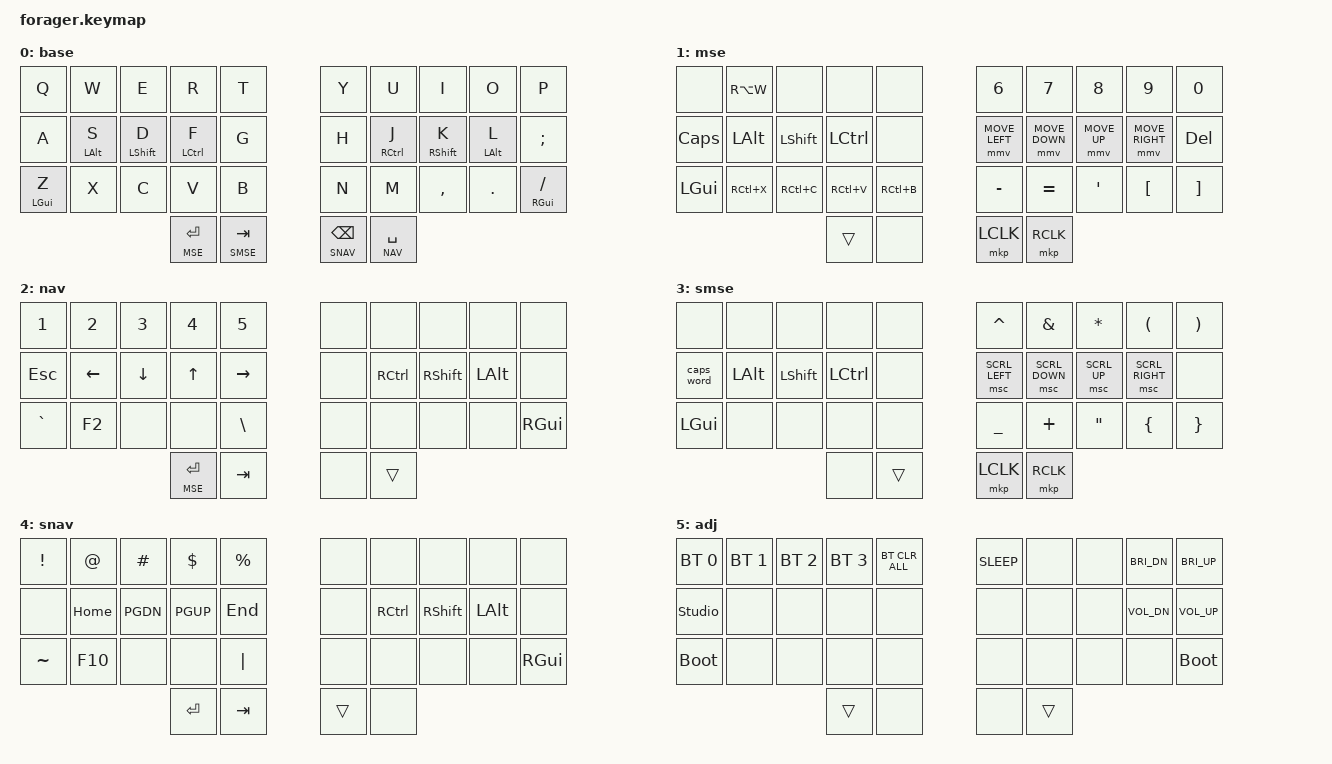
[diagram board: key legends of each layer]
#include <behaviors.dtsi>
#include <dt-bindings/zmk/keys.h>
#include <dt-bindings/zmk/bt.h>
#include <dt-bindings/zmk/outputs.h>
#include <dt-bindings/zmk/mouse.h>

#define BASE 0
#define MSE  1
#define NAV  2
#define SMSE 3
#define SNAV 4
#define ADJ  5

#define AS(keycode) &as LS(keycode) keycode     // Autoshift Macro
#define MEH LS(LC(LALT))

/ {
    behaviors {
        as: auto_shift {
            compatible = "zmk,behavior-hold-tap";
            #binding-cells = <2>;
            tapping-term-ms = <250>;
            require-prior-idle-ms = <100>;
            flavor = "tap-preferred";
            bindings = <&kp>, <&kp>;
        };
        ht: hold_tap {
            compatible = "zmk,behavior-hold-tap";
            #binding-cells = <2>;
            tapping-term-ms = <200>;
            flavor = "balanced";
            bindings = <&kp>, <&kp>;
        };
        sabk: shift_to_alt_backspace {
            compatible = "zmk,behavior-mod-morph";
            #binding-cells = <0>;
            bindings = <&kp BSPC>, <&kp LA(BSPC)>;
            mods = <(MOD_LSFT|MOD_RSFT)>;
        };
        smart_shift: smart_shift {
            compatible = "zmk,behavior-mod-morph";
            #binding-cells = <0>;
            bindings = <&sk LSHFT>, <&caps_word>;
            mods = <(MOD_LSFT|MOD_RSFT)>;
        };
        sym_bspc: left_thumb_hold_tap {
            compatible = "zmk,behavior-hold-tap";
            #binding-cells = <2>;
            flavor = "tap-preferred";
            tapping-term-ms = <150>;
            quick-tap-ms = <200>;
            bindings = <&mo>, <&sabk>;
        };
        lhm_p: left_homerow_pinky_finger {
            compatible = "zmk,behavior-hold-tap";
            #binding-cells = <2>;
            flavor = "tap-preferred";
            tapping-term-ms = <200>;
            quick-tap-ms = <200>;
            require-prior-idle-ms = <200>;
            hold-trigger-on-release;
            bindings = <&kp>, <&kp>;
            hold-trigger-key-positions = <5 6 7 8 9 15 16 17 18 19 25 26 27 28 29 30 31 32 33>;
        };
        lhm_r: left_homerow_ring_finger {
            compatible = "zmk,behavior-hold-tap";
            #binding-cells = <2>;
            flavor = "tap-preferred";
            tapping-term-ms = <175>;
            quick-tap-ms = <175>;
            require-prior-idle-ms = <175>;
            hold-trigger-on-release;
            bindings = <&kp>, <&kp>;
            hold-trigger-key-positions = <5 6 7 8 9 15 16 17 18 19 25 26 27 28 29 30 31 32 33>;
        };
        lhm_m: left_homerow_middle_finger {
            compatible = "zmk,behavior-hold-tap";
            #binding-cells = <2>;
            flavor = "hold-preferred";
            tapping-term-ms = <175>;
            quick-tap-ms = <175>;
            require-prior-idle-ms = <100>;
            hold-trigger-on-release;
            bindings = <&kp>, <&kp>;
            hold-trigger-key-positions = <5 6 7 8 9 15 16 17 18 19 25 26 27 28 29 30 31 32 33>;
        };
        lhm_i: left_homerow_index_finger {
            compatible = "zmk,behavior-hold-tap";
            #binding-cells = <2>;
            flavor = "hold-preferred";
            tapping-term-ms = <175>;
            quick-tap-ms = <175>;
            require-prior-idle-ms = <100>;
            hold-trigger-on-release;
            bindings = <&kp>, <&kp>;
            hold-trigger-key-positions = <5 6 7 8 9 15 16 17 18 19 25 26 27 28 29 30 31 32 33>;
        };
        rhm_i: right_homerow_index_finger {
            compatible = "zmk,behavior-hold-tap";
            #binding-cells = <2>;
            flavor = "hold-preferred";
            tapping-term-ms = <175>;
            quick-tap-ms = <175>;
            require-prior-idle-ms = <100>;
            hold-trigger-on-release;
            bindings = <&kp>, <&kp>;
            hold-trigger-key-positions = <0 1 2 3 4 10 11 12 13 14 20 21 22 23 24 30 31 32 33>;
        };
        rhm_m: right_homerow_middle_finger {
            compatible = "zmk,behavior-hold-tap";
            #binding-cells = <2>;
            flavor = "hold-preferred";
            tapping-term-ms = <175>;
            quick-tap-ms = <175>;
            require-prior-idle-ms = <100>;
            hold-trigger-on-release;
            bindings = <&kp>, <&kp>;
            hold-trigger-key-positions = <0 1 2 3 4 10 11 12 13 14 20 21 22 23 24 30 31 32 33>;
        };
        rhm_r: right_homerow_ring_finger {
            compatible = "zmk,behavior-hold-tap";
            #binding-cells = <2>;
            flavor = "tap-preferred";
            tapping-term-ms = <175>;
            quick-tap-ms = <175>;
            require-prior-idle-ms = <175>;
            hold-trigger-on-release;
            bindings = <&kp>, <&kp>;
            hold-trigger-key-positions = <0 1 2 3 4 10 11 12 13 14 20 21 22 23 24 30 31 32 33>;
        };
        rhm_p: right_homerow_pinky_finger {
            compatible = "zmk,behavior-hold-tap";
            #binding-cells = <2>;
            flavor = "tap-preferred";
            tapping-term-ms = <200>;
            quick-tap-ms = <200>;
            require-prior-idle-ms = <200>;
            hold-trigger-on-release;
            bindings = <&kp>, <&kp>;
            hold-trigger-key-positions = <0 1 2 3 4 10 11 12 13 14 20 21 22 23 24 30 31 32 33>;
        };
    };

    conditional_layers {
        compatible = "zmk,conditional-layers";
        tri_layer {
            if-layers = <1 2>;
            then-layer = <5>;
        };
    };

    keymap {
        compatible = "zmk,keymap";

        base {
            bindings = <
            &kp Q           &kp W           &kp E           &kp R           &kp T                                           &kp Y           &kp U           &kp I           &kp O           &kp P
            &kp A           &lhm_r LALT S   &lhm_m LSHIFT D &lhm_i LCTRL F  &kp G                                           &kp H           &rhm_i RCTRL J  &rhm_m RSHIFT K &rhm_r LALT L   &kp SEMI
            &lhm_p LGUI Z   &kp X           &kp C           &kp V           &kp B                                           &kp N           &kp M           &kp COMMA       &kp DOT         &rhm_p RGUI FSLH
                                                                            &lt MSE ENTER   &lt SMSE TAB    &lt SNAV BSPC   &lt NAV SPACE
            >;
        };

        mse {
            bindings = <
            &none           &kp RA(W)       &none           &none           &none                                           &kp N6          &kp N7          &kp N8          &kp N9          &kp N0
            &kp CLCK        &kp LALT        &kp LSHIFT      &kp LCTRL       &none                                           &mmv MOVE_LEFT  &mmv MOVE_DOWN  &mmv MOVE_UP    &mmv MOVE_RIGHT &kp DEL
            &kp LGUI        &kp RC(X)       &kp RC(C)       &kp RC(V)       &kp RC(B)                                       &kp MINUS       &kp EQUAL       &kp APOS        &kp LBKT        &kp RBKT
                                                                            &trans          &none           &mkp LCLK       &mkp RCLK
            >;
        };

        nav {
            bindings = <
            &kp N1          &kp N2          &kp N3          &kp N4          &kp N5                                          &none           &none           &none           &none           &none
            &kp ESC         &kp LEFT        &kp DOWN        &kp UP          &kp RIGHT                                       &none           &kp RCTRL       &kp RSHIFT      &kp LALT        &none
            &kp GRAVE       &kp F2          &none           &none           &kp BSLH                                        &none           &none           &none           &none           &kp RGUI
                                                                            &lt MSE ENTER   &kp TAB         &none           &trans
            >;
        };

        smse {
            bindings = <
            &none           &none           &none           &none           &none                                           &kp CARET       &kp AMPS        &kp ASTRK       &kp LPAR        &kp RPAR
            &caps_word      &kp LALT        &kp LSHIFT      &kp LCTRL       &none                                           &msc SCRL_LEFT  &msc SCRL_DOWN  &msc SCRL_UP    &msc SCRL_RIGHT &none
            &kp LGUI        &none           &none           &none           &none                                           &kp UNDER       &kp PLUS        &kp DQT         &kp LBRC        &kp RBRC
                                                                            &none           &trans          &mkp LCLK       &mkp RCLK
            >;
        };

        snav {
            bindings = <
            &kp EXCL        &kp AT          &kp HASH        &kp DLLR        &kp PRCNT                                       &none           &none           &none           &none           &none
            &none           &kp HOME        &kp PGDN        &kp PGUP        &kp END                                         &none           &kp RCTRL       &kp RSHIFT      &kp LALT        &none
            &kp TILDE       &kp F10         &none           &none           &kp PIPE                                        &none           &none           &none           &none           &kp RGUI
                                                                            &kp ENTER       &kp TAB         &trans          &none
            >;
        };

        adj {
            bindings = <
            &bt BT_SEL 0    &bt BT_SEL 1    &bt BT_SEL 2    &bt BT_SEL 3    &bt BT_CLR_ALL                                  &kp C_SLEEP     &none           &none           &kp C_BRI_DN    &kp C_BRI_UP
            &studio_unlock  &none           &none           &none           &none                                           &none           &none           &none           &kp C_VOL_DN    &kp C_VOL_UP
            &bootloader     &none           &none           &none           &none                                           &none           &none           &none           &none           &bootloader
                                                                            &trans          &none           &none           &trans
            >;
        };
    };
};

&lt {
    flavor = "hold-preferred";
    require-prior-idle-ms = <100>;
    tapping-term-ms = <150>;
    quick-tap-ms = <200>;
    // retro-tap: disabled (default) -- no spurious taps on thumb keys
    // hold-trigger-on-release: disabled (default) -- immediate layer activation
};

&mt {
    quick-tap-ms = <200>;
};

&sk {
    release-after-ms = <500>;
    quick-release;
};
